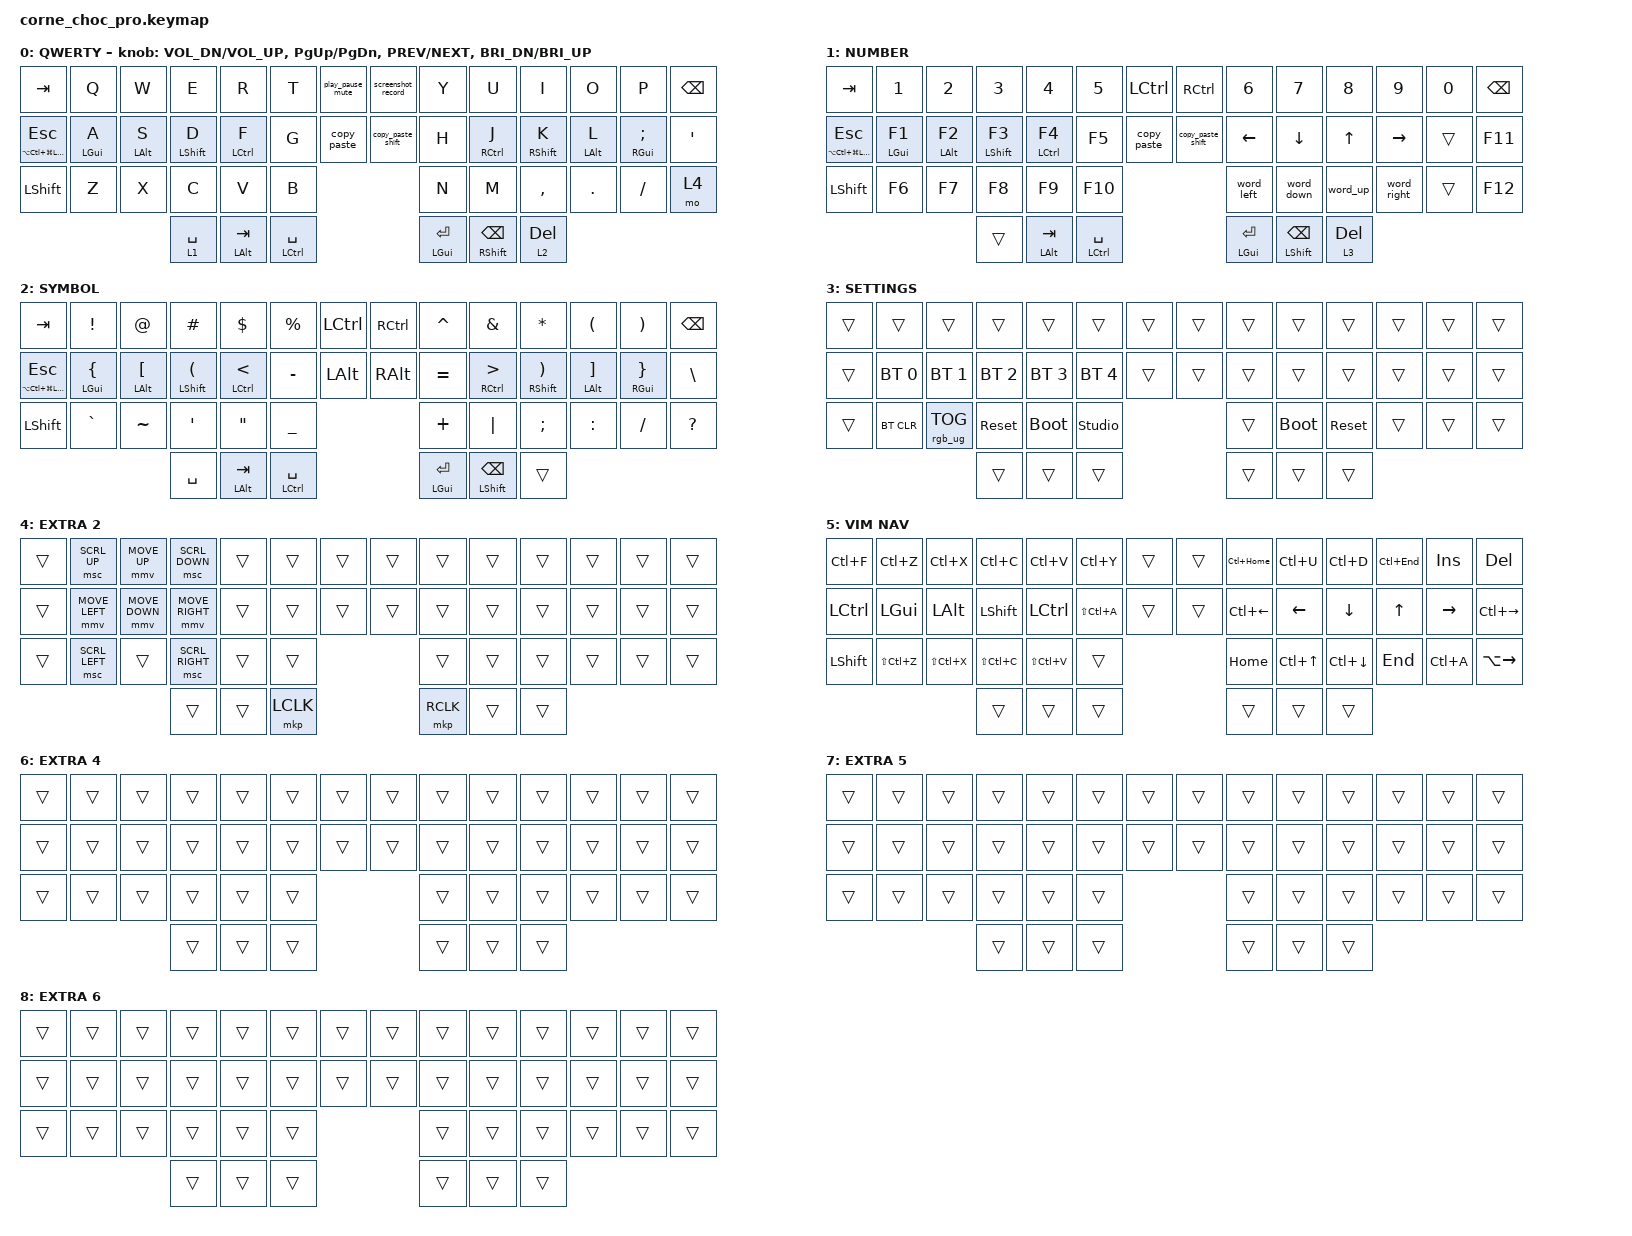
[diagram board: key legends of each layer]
#include <behaviors.dtsi>
#include <dt-bindings/zmk/bt.h>
#include <dt-bindings/zmk/keys.h>
#include <dt-bindings/zmk/pointing.h>
#include <dt-bindings/zmk/rgb.h>

&mt { flavor = "tap-preferred"; };

/ {
    chosen { zmk,physical-layout = &default_layout; };

    conditional_layers {
        compatible = "zmk,conditional-layers";

        // Auto-activate SETTINGS layer when holding NUMBER + SYMBOL
    };
};

/ {
    behaviors {
        hml: homerow_mods_left {
            compatible = "zmk,behavior-hold-tap";
            label = "HOMEROW_MODS_LEFT";
            bindings = <&kp>, <&kp>;

            #binding-cells = <2>;
            flavor = "balanced";
            tapping-term-ms = <280>;
            quick-tap-ms = <175>;
            require-prior-idle-ms = <150>;
            hold-trigger-key-positions = <7 8 9 10 11 12 13 21 22 23 24 25 26 27 34 35 36 37 38 39>;
            hold-trigger-on-release;
        };

        hmr: homerow_mods_right {
            compatible = "zmk,behavior-hold-tap";
            label = "HOMEROW_MODS_RIGHT";
            bindings = <&kp>, <&kp>;

            #binding-cells = <2>;
            flavor = "balanced";
            tapping-term-ms = <280>;
            quick-tap-ms = <175>;
            require-prior-idle-ms = <150>;
            hold-trigger-key-positions = <0 1 2 3 4 5 6 14 15 16 17 18 19 20 28 29 30 31 32 33>;
            hold-trigger-on-release;
        };

        copy_paste: copy_paste_tap_dance {
            compatible = "zmk,behavior-tap-dance";
            label = "COPY_PASTE_TAP_DANCE";
            #binding-cells = <0>;
            tapping-term-ms = <200>;
            bindings = <&kp LC(C)>, <&kp LC(V)>;
        };

        copy_paste_shift: copy_paste_shift_tap_dance {
            compatible = "zmk,behavior-tap-dance";
            label = "COPY_PASTE_SHIFT_TAP_DANCE";
            #binding-cells = <0>;
            tapping-term-ms = <200>;
            bindings = <&kp LS(LC(C))>, <&kp LS(LC(V))>;
        };

        word_left: word_left_tap_dance {
            compatible = "zmk,behavior-tap-dance";
            label = "WORD_LEFT_TAP_DANCE";
            #binding-cells = <0>;
            tapping-term-ms = <200>;
            bindings = <&kp LC(LEFT)>, <&kp HOME>;
        };

        word_down: word_down_tap_dance {
            compatible = "zmk,behavior-tap-dance";
            label = "WORD_DOWN_TAP_DANCE";
            #binding-cells = <0>;
            tapping-term-ms = <200>;
            bindings = <&kp LC(DOWN)>, <&kp LC(END)>;
        };

        word_up: word_up_tap_dance {
            compatible = "zmk,behavior-tap-dance";
            label = "WORD_UP_TAP_DANCE";
            #binding-cells = <0>;
            tapping-term-ms = <200>;
            bindings = <&kp LC(UP)>, <&kp LC(HOME)>;
        };

        word_right: word_right_tap_dance {
            compatible = "zmk,behavior-tap-dance";
            label = "WORD_RIGHT_TAP_DANCE";
            #binding-cells = <0>;
            tapping-term-ms = <200>;
            bindings = <&kp LC(RIGHT)>, <&kp END>;
        };

        thumb_mt: thumb_mod_tap {
            compatible = "zmk,behavior-hold-tap";
            label = "THUMB_MOD_TAP";
            #binding-cells = <2>;
            flavor = "balanced";
            tapping-term-ms = <200>;
            quick-tap-ms = <150>;
            require-prior-idle-ms = <100>;
            bindings = <&kp>, <&kp>;
        };

        screenshot_record: screenshot_record {
            compatible = "zmk,behavior-tap-dance";
            label = " SCREENSHOT/RECORD";
            #binding-cells = <0>;
            bindings = <&kp PRINTSCREEN>, <&kp LA(PRINTSCREEN)>;
        };

        play_pause_mute: play_pause_mute {
            compatible = "zmk,behavior-tap-dance";
            label = "PLAY_PAUSE_MUTE";
            #binding-cells = <0>;
            bindings = <&kp K_MUTE>, <&kp C_PP>;
        };
    };

    keymap {
        compatible = "zmk,keymap";

        default_layer {
            display-name = "QWERTY";

            // --------------------------------------------------------------------------------
            // |  TAB |  Q  |  W  |  E  |  R  |  T  |  MUTE |  PP   |  Y  |  U   |  I  |  O  |  P  | BSPC |
            // |CTRL/ESC| A  |  S  |  D  |  F  |  G  |  LALT |  RALT |  H  |  J   |  K  |  L  |  ;  |  '   |
            // | SHFT |  Z  |  X  |  C  |  V  |  B  |               |  N  |  M   |  ,  |  .  |  /  | ESC  |
            //                    | GUI | LWR | SPC |               | ENT | RSE  | ALT |

            bindings = <
&kp TAB                            &kp Q            &kp W            &kp E              &kp R                   &kp T                         &play_pause_mute  &screenshot_record  &kp Y                     &kp U                            &kp I               &kp O            &kp P                &kp BSPC
&mt LA(LC(LG(LEFT_SHIFT))) ESCAPE  &hml LEFT_GUI A  &hml LEFT_ALT S  &hml LEFT_SHIFT D  &hml LEFT_CONTROL F     &kp G                         &copy_paste       &copy_paste_shift   &kp H                     &hmr RIGHT_CONTROL J             &hmr RIGHT_SHIFT K  &hmr LEFT_ALT L  &hmr RIGHT_GUI SEMI  &kp SQT
&kp LSHFT                          &kp Z            &kp X            &kp C              &kp V                   &kp B                                                               &kp N                     &kp M                            &kp COMMA           &kp DOT          &kp FSLH             &mo 4
                                                                     &lt 1 SPACE        &thumb_mt LEFT_ALT TAB  &thumb_mt LEFT_CONTROL SPACE                                        &thumb_mt LEFT_GUI ENTER  &thumb_mt RIGHT_SHIFT BACKSPACE  &lt 2 DELETE
            >;

            sensor-bindings = <&inc_dec_kp C_VOL_DN C_VOL_UP &inc_dec_kp PG_UP PG_DN &inc_dec_kp C_PREV C_NEXT &inc_dec_kp C_BRI_DN C_BRI_UP>;
        };

        lower_layer {
            display-name = "NUMBER";

            // -----------------------------------------------------------------------------------------
            // |  TAB |  1  |  2  |  3  |  4  |  5  |  LCTRL | RCTRL |  6  |  7  |  8  |  9  |  0  | BSPC |
            // | CTRL |     |     |     |     |     |  LALT  | RALT  | LFT | DWN |  UP | RGT |     |      |
            // | SHFT |     |     |     |     |     |        |       |     |     |     |     |     |      |
            //                    | GUI |     | SPC  |        | ENT   |     | ALT |

            bindings = <
&kp TAB                            &kp N1            &kp N2            &kp N3              &kp N4                &kp N5                  &kp LCTRL    &kp RCTRL          &kp N6          &kp N7                    &kp N8        &kp N9       &kp N0  &kp BSPC
&mt LA(LC(LG(LEFT_SHIFT))) ESCAPE  &hml LEFT_GUI F1  &hml LEFT_ALT F2  &hml LEFT_SHIFT F3  &hml LEFT_CONTROL F4  &kp F5                  &copy_paste  &copy_paste_shift  &kp LEFT        &kp DOWN                  &kp UP        &kp RIGHT    &trans  &kp F11
&kp LSHFT                          &kp F6            &kp F7            &kp F8              &kp F9                &kp F10                                                 &word_left      &word_down                &word_up      &word_right  &trans  &kp F12
                                                                       &trans              &mt LEFT_ALT TAB      &mt LEFT_CONTROL SPACE                                  &mt LGUI ENTER  &mt LEFT_SHIFT BACKSPACE  &lt 3 DELETE
            >;
        };

        raise_layer {
            display-name = "SYMBOL";

            // -----------------------------------------------------------------------------------------
            // |  TAB |  !  |  @  |  #  |  $  |  %  | LCTRL | RCTRL |  ^  |  &  |  *  |  (  |  )  | BSPC |
            // | CTRL |  {  |  [  |  (  |  <  |  -  |  LALT | RALT  |  =  |  >  |  )  |  ]  |  }  |  \   |
            // | SHFT |  `  |  ~  |  '  |  "  |  _  |               |  +  |  |  |  ;  |  :  |  /  |  ?   |
            //                    | GUI |     | SPC |               | ENT |     | ALT |

            bindings = <
&kp TAB                            &kp EXCL            &kp AT              &kp HASH              &kp DLLR              &kp PRCNT               &kp LCTRL  &kp RCTRL  &kp CARET           &kp AMPS                  &kp ASTRK              &kp LPAR            &kp RPAR             &kp BSPC
&mt LA(LC(LG(LEFT_SHIFT))) ESCAPE  &hml LEFT_GUI LBRC  &hml LEFT_ALT LBKT  &hml LEFT_SHIFT LPAR  &hml LEFT_CONTROL LT  &kp MINUS               &kp LALT   &kp RALT   &kp EQUAL           &hmr RIGHT_CONTROL GT     &hmr RIGHT_SHIFT RPAR  &hmr LEFT_ALT RBKT  &hmr RIGHT_GUI RBRC  &kp BSLH
&kp LSHFT                          &kp GRAVE           &kp TILDE           &kp SQT               &kp DQT               &kp UNDER                                     &kp PLUS            &kp PIPE                  &kp SEMI               &kp COLON           &kp FSLH             &kp QMARK
                                                                           &kp SPACE             &mt LEFT_ALT TAB      &mt LEFT_CONTROL SPACE                        &mt LEFT_GUI ENTER  &mt LEFT_SHIFT BACKSPACE  &trans
            >;
        };

        settings_layer {
            display-name = "SETTINGS";

            // -----------------------------------------------------------------------------------------
            // |      |     |     |     |     |     |       |       |     |     |     |     |     |      |
            // |      | BT1 | BT2 | BT3 | BT4 | BT5 |       |       |     |     |     |     |     |      |
            // |      | BTCL| RGB | RST | BOOT| UNLK|               |     |     |     |     |     |      |
            //                    |     |     |     |               |     |     |     |

            bindings = <
&trans  &trans        &trans           &trans        &trans        &trans          &trans  &trans  &trans  &trans       &trans      &trans  &trans  &trans
&trans  &bt BT_SEL 0  &bt BT_SEL 1     &bt BT_SEL 2  &bt BT_SEL 3  &bt BT_SEL 4    &trans  &trans  &trans  &trans       &trans      &trans  &trans  &trans
&trans  &bt BT_CLR    &rgb_ug RGB_TOG  &sys_reset    &bootloader   &studio_unlock                  &trans  &bootloader  &sys_reset  &trans  &trans  &trans
                                       &trans        &trans        &trans                          &trans  &trans       &trans
            >;
        };

        mouselayer {
            display-name = "EXTRA 2";
            bindings = <
&trans  &msc SCRL_UP    &mmv MOVE_UP    &msc SCRL_DOWN   &trans  &trans     &trans  &trans  &trans     &trans  &trans  &trans  &trans  &trans
&trans  &mmv MOVE_LEFT  &mmv MOVE_DOWN  &mmv MOVE_RIGHT  &trans  &trans     &trans  &trans  &trans     &trans  &trans  &trans  &trans  &trans
&trans  &msc SCRL_LEFT  &trans          &msc SCRL_RIGHT  &trans  &trans                     &trans     &trans  &trans  &trans  &trans  &trans
                                        &trans           &trans  &mkp LCLK                  &mkp RCLK  &trans  &trans
            >;
        };

        vim_nav_layer {
            display-name = "VIM NAV";

            // -----------------------------------------------------------------------------------------
            // | FIND | UNDO | CUT  | COPY |PASTE | REDO|       |       |  gg  |Ctrl+U|Ctrl+D|  G   | INS | DEL  |
            // | CTRL | GUI  | ALT  |SHIFT | CTRL | SEL |       |       |  b   |  h   |  j   |  k   |  l  |  w   |
            // | SHFT |S+UNDO|S+CUT |S+COPY|S+PAST|     |               |  ^   |  {   |  }   |  $   |  0  |  e   |
            //                      |      |      |     |               |      |      |      |

            bindings = <
&kp LC(F)  &kp LC(Z)      &kp LC(X)      &kp LC(C)       &kp LC(V)         &kp LC(Y)      &trans  &trans  &kp LC(HOME)  &kp LC(U)   &kp LC(D)     &kp LC(END)  &kp INS    &kp DEL
&kp LCTRL  &kp LEFT_GUI   &kp LEFT_ALT   &kp LEFT_SHIFT  &kp LEFT_CONTROL  &kp LS(LC(A))  &trans  &trans  &kp LC(LEFT)  &kp LEFT    &kp DOWN      &kp UP       &kp RIGHT  &kp LC(RIGHT)
&kp LSHFT  &kp LS(LC(Z))  &kp LS(LC(X))  &kp LS(LC(C))   &kp LS(LC(V))     &trans                         &kp HOME      &kp LC(UP)  &kp LC(DOWN)  &kp END      &kp LC(A)  &kp LA(RIGHT)
                                         &trans          &trans            &trans                         &trans        &trans      &trans
            >;
        };

        extra_layer_4 {
            display-name = "EXTRA 4";
            bindings = <
&trans  &trans  &trans  &trans  &trans  &trans  &trans  &trans  &trans  &trans  &trans  &trans  &trans  &trans
&trans  &trans  &trans  &trans  &trans  &trans  &trans  &trans  &trans  &trans  &trans  &trans  &trans  &trans
&trans  &trans  &trans  &trans  &trans  &trans                  &trans  &trans  &trans  &trans  &trans  &trans
                        &trans  &trans  &trans                  &trans  &trans  &trans
            >;
        };

        extra_layer_5 {
            display-name = "EXTRA 5";
            bindings = <
&trans  &trans  &trans  &trans  &trans  &trans  &trans  &trans  &trans  &trans  &trans  &trans  &trans  &trans
&trans  &trans  &trans  &trans  &trans  &trans  &trans  &trans  &trans  &trans  &trans  &trans  &trans  &trans
&trans  &trans  &trans  &trans  &trans  &trans                  &trans  &trans  &trans  &trans  &trans  &trans
                        &trans  &trans  &trans                  &trans  &trans  &trans
            >;
        };

        extra_layer_6 {
            display-name = "EXTRA 6";
            bindings = <
&trans  &trans  &trans  &trans  &trans  &trans  &trans  &trans  &trans  &trans  &trans  &trans  &trans  &trans
&trans  &trans  &trans  &trans  &trans  &trans  &trans  &trans  &trans  &trans  &trans  &trans  &trans  &trans
&trans  &trans  &trans  &trans  &trans  &trans                  &trans  &trans  &trans  &trans  &trans  &trans
                        &trans  &trans  &trans                  &trans  &trans  &trans
            >;
        };
    };
};
